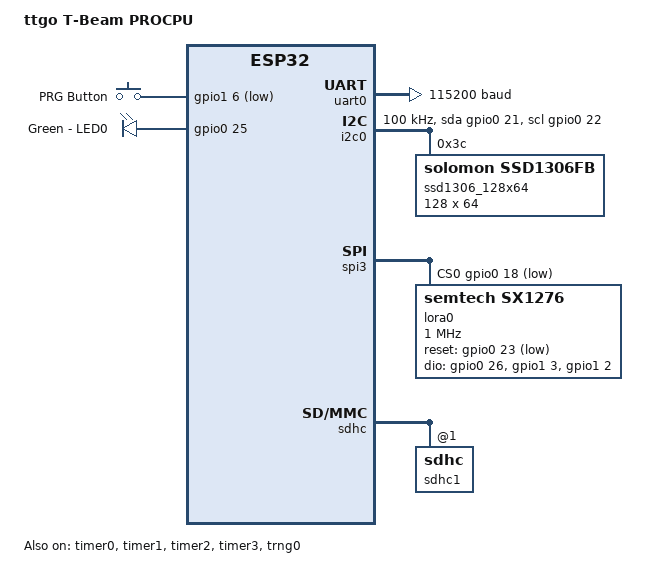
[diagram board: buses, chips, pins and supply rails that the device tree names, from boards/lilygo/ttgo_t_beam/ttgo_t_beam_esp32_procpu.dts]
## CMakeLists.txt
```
cmake_minimum_required(VERSION 3.20.0)
find_package(Zephyr REQUIRED HINTS $ENV{ZEPHYR_BASE})
project(IoT_zephyr)

target_sources(app PRIVATE
  src/main.c
)



# in CMakeLists.txt  
# zephyr_compile_options(-fno-threadsafe-statics)  

  
# target_include_directories(RadioLib PUBLIC include)  
# target_link_libraries(app PRIVATE RadioLib)  
```

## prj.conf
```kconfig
CONFIG_LOG=y
CONFIG_GPIO=y
CONFIG_SPI=y
CONFIG_GPIO_ESP32=y

CONFIG_LORA=y

# OLED Re-enabled
CONFIG_I2C=y
CONFIG_DISPLAY=y
CONFIG_CHARACTER_FRAMEBUFFER=y
CONFIG_SSD1306=y
CONFIG_SSD1306_DEFAULT_CONTRAST=128

CONFIG_CONSOLE=y
CONFIG_UART_CONSOLE=y
CONFIG_CONSOLE_SUBSYS=y
CONFIG_CONSOLE_GETCHAR=y

CONFIG_SYS_HEAP_RUNTIME_STATS=y  
# Increase heap size for Wi-Fi driver (64KB)
CONFIG_HEAP_MEM_POOL_SIZE=65536
CONFIG_THREAD_STACK_INFO=y  
CONFIG_THREAD_RUNTIME_STATS=y  
CONFIG_INIT_STACKS=y 

CONFIG_WIFI=y
CONFIG_WIFI_ESP32=y
CONFIG_NETWORKING=y
CONFIG_NET_L2_ETHERNET=y
CONFIG_NET_L2_WIFI_MGMT=y
CONFIG_NET_IPV4=y
CONFIG_NET_DHCPV4=y
CONFIG_NET_CONFIG_SETTINGS=n

CONFIG_NET_UDP=y
CONFIG_NET_SOCKETS=y
CONFIG_NET_SOCKETS_POSIX_NAMES=y
CONFIG_NET_MAX_CONTEXTS=4

# Restored Stable Memory Configuration
CONFIG_NET_BUF_RX_COUNT=8
CONFIG_NET_BUF_TX_COUNT=8
CONFIG_NET_PKT_RX_COUNT=4
CONFIG_NET_PKT_TX_COUNT=4
CONFIG_NET_TX_STACK_SIZE=2048
CONFIG_NET_RX_STACK_SIZE=2048
CONFIG_NET_MGMT_EVENT_STACK_SIZE=4096

# Crypto needed for local LoRaWAN decryption
CONFIG_MBEDTLS=y
CONFIG_MBEDTLS_CIPHER_AES_ENABLED=y
CONFIG_BASE64=y

# NVS for Backlog Storage
CONFIG_FLASH=y
CONFIG_FLASH_PAGE_LAYOUT=y
CONFIG_FLASH_MAP=y
CONFIG_NVS=y
CONFIG_NVS_LOG_LEVEL_INF=y
CONFIG_NET_DHCPV4=y
```

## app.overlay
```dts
/ {
	wifi: wifi {
		compatible = "espressif,esp32-wifi";
		status = "okay";
	};
};
```

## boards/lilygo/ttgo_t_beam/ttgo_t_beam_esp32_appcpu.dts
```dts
/*
 * Copyright (c) 2023 Espressif Systems (Shanghai) Co., Ltd.
 *
 * SPDX-License-Identifier: Apache-2.0
 */
/dts-v1/;

#include <espressif/esp32/esp32_appcpu.dtsi>
#include <espressif/partitions_0x1000_amp.dtsi>

/ {
	model = "ttgo T-Beam APPCPU";
	compatible = "espressif,esp32";

	chosen {
		zephyr,sram = &sram1;
		zephyr,ipc_shm = &shm0;
		zephyr,ipc = &ipm0;
		zephyr,flash = &flash0;
		zephyr,code-partition = &slot0_appcpu_partition;
	};
};

&ipm0 {
	status = "okay";
};

&trng0 {
	status = "okay";
};
```

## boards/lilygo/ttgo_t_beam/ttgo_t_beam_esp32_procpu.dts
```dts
/*
 * Copyright (c) 2024 Lothar Felten <lothar.felten@gmail.com>
 *
 * SPDX-License-Identifier: Apache-2.0
 */
/dts-v1/;

#include <espressif/esp32/esp32_pico_d4.dtsi>
#include "ttgo_t_beam-pinctrl.dtsi"
#include <zephyr/dt-bindings/input/input-event-codes.h>
#include <espressif/partitions_0x1000_amp.dtsi>

/ {
	model = "ttgo T-Beam PROCPU";
	compatible = "lilygo,ttgo-t-beam";

	aliases {
		led0 = &green_led;
		uart-0 = &uart0;
		i2c-0 = &i2c0;
		watchdog0 = &wdt0;
		sw0 = &button0;
		sdhc0 = &sdhc1;
		lora0 = &lora0;
	};

	buttons {
		compatible = "gpio-keys";
		button0: button_0 {
			gpios = <&gpio1 6 GPIO_ACTIVE_LOW>;
			label = "PRG Button";
		};
	};

	chosen {
		zephyr,sram = &sram0;
		zephyr,console = &uart0;
		zephyr,shell-uart = &uart0;
		zephyr,flash = &flash0;
		zephyr,code-partition = &slot0_partition;
		zephyr,display = &ssd1306_128x64;
		zephyr,sdhc = &sdhc1;
	};

	leds {
		compatible = "gpio-leds";

		green_led: led_0 {
			gpios =  <&gpio0 25 GPIO_ACTIVE_HIGH>;
			label = "Green - LED0";
		};
	};
};

&uart0 {
	status = "okay";
	current-speed = <115200>;
	pinctrl-0 = <&uart0_default>;
	pinctrl-names = "default";
};

&gpio0 {
	status = "okay";
};

&gpio1 {
	status = "okay";
};

/* OLED display */
&i2c0 {
	status = "okay";
	clock-frequency = <I2C_BITRATE_STANDARD>;
	sda-gpios = <&gpio0 21 GPIO_OPEN_DRAIN>;
	scl-gpios = <&gpio0 22 GPIO_OPEN_DRAIN>;
	pinctrl-0 = <&i2c0_default>;
	pinctrl-names = "default";
	ssd1306_128x64: ssd1306@3c {
		compatible = "solomon,ssd1306fb";
		reg = <0x3c>;
		width = <128>;
		height = <64>;
		segment-offset = <0>;
		page-offset = <0>;
		display-offset = <0>;
		multiplex-ratio = <63>;
		segment-remap;
		com-invdir;
		prechargep = <0x22>;
	};
};

&spi3 {
	#address-cells = <1>;
	#size-cells = <0>;
	status = "okay";
	pinctrl-0 = <&spim3_default>;
	pinctrl-names = "default";
	cs-gpios = <&gpio0 18 GPIO_ACTIVE_LOW>;
	lora0: lora@0 {
		compatible = "semtech,sx1276";
		reg = <0>;
		reset-gpios = <&gpio0 23 GPIO_ACTIVE_LOW>;
		dio-gpios =
			/* SX1276 D0 -> GPIO26 */
			<&gpio0 26 (GPIO_PULL_DOWN | GPIO_ACTIVE_HIGH)>,
			/* SX1276 D1 -> GPIO35 */
			<&gpio1 3 (GPIO_PULL_DOWN | GPIO_ACTIVE_HIGH)>,
			/* SX1276 D1 -> GPIO34 */
			<&gpio1 2 (GPIO_PULL_DOWN | GPIO_ACTIVE_HIGH)>;
		spi-max-frequency = <1000000>;
		power-amplifier-output = "pa-boost";
	};
};

&timer0 {
	status = "okay";
};

&timer1 {
	status = "okay";
};

&timer2 {
	status = "okay";
};

&timer3 {
	status = "okay";
};

&trng0 {
	status = "okay";
};

&sdhc {
	sdhc1: sdhc@1 {
		status = "okay";

		pinctrl-0 = <&sdhc0_default>;
		pinctrl-names = "default";
		power-delay-ms = <100>;
		max-bus-freq = <52000000>;
		bus-width = <4>;

		clk-pin = <14>;
		cmd-pin = <15>;
		d0-pin = <2>;
		d1-pin = <4>;
		d2-pin = <12>;
		d3-pin = <13>;

		mmc {
			compatible = "zephyr,sdmmc-disk";
			status = "okay";
		};
	};
};
```

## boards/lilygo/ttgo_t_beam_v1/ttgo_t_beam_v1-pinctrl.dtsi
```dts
/*
 * Copyright (c) 2024 Lothar Felten <lothar.felten@gmail.com>
 *
 * SPDX-License-Identifier: Apache-2.0
 */

#include <zephyr/dt-bindings/pinctrl/esp-pinctrl-common.h>
#include <dt-bindings/pinctrl/esp32-pinctrl.h>
#include <zephyr/dt-bindings/pinctrl/esp32-gpio-sigmap.h>

&pinctrl {

	uart0_default: uart0_default {
		group1 {
			pinmux = <UART0_TX_GPIO1>;
			output-high;
		};
		group2 {
			pinmux = <UART0_RX_GPIO3>;
			bias-pull-up;
		};
	};

	spim3_default: spim3_default {
		group1 {
			pinmux = <SPIM3_MISO_GPIO19>,
				 <SPIM3_SCLK_GPIO5>;
		};
		group2 {
			pinmux = <SPIM3_MOSI_GPIO27>;
			output-low;
		};
	};

	i2c0_default: i2c0_default {
		group1 {
			pinmux = <I2C0_SDA_GPIO21>,
				 <I2C0_SCL_GPIO22>;
			bias-pull-up;
			drive-open-drain;
			output-high;
		};
	};

	sdhc0_default: sdhc0_default {
		group1 {
			pinmux = <SDHC0_CD_GPIO34>;
			bias-pull-up;
			output-high;
		};
	};
};
```

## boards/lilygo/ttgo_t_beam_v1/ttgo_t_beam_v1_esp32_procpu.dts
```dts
/*
 * Copyright (c) 2024 Lothar Felten <lothar.felten@gmail.com>
 *
 * SPDX-License-Identifier: Apache-2.0
 */
/dts-v1/;

#include <espressif/esp32/esp32_pico_d4.dtsi>
#include "ttgo_t_beam_v1-pinctrl.dtsi"
#include <zephyr/dt-bindings/input/input-event-codes.h>
#include <espressif/partitions_0x1000_amp.dtsi>

/ {
	model = "ttgo T-Beam PROCPU";
	compatible = "lilygo,ttgo-t-beam";

	aliases {
		led0 = &green_led;
		uart-0 = &uart0;
		i2c-0 = &i2c0;
		watchdog0 = &wdt0;
		sw0 = &button0;
		sdhc0 = &sdhc1;
		lora0 = &lora0;
	};

	buttons {
		compatible = "gpio-keys";
		button0: button_0 {
			gpios = <&gpio1 6 GPIO_ACTIVE_LOW>;
			label = "PRG Button";
		};
	};

	chosen {
		zephyr,sram = &sram0;
		zephyr,console = &uart0;
		zephyr,shell-uart = &uart0;
		zephyr,flash = &flash0;
		zephyr,code-partition = &slot0_partition;
		zephyr,display = &ssd1306_128x64;
		zephyr,sdhc = &sdhc1;
	};

	leds {
		compatible = "gpio-leds";

		green_led: led_0 {
			gpios =  <&gpio0 25 GPIO_ACTIVE_HIGH>;
			label = "Green - LED0";
		};
	};
};

&uart0 {
	status = "okay";
	current-speed = <115200>;
	pinctrl-0 = <&uart0_default>;
	pinctrl-names = "default";
};

&gpio0 {
	status = "okay";
};

&gpio1 {
	status = "okay";
};

/* OLED display */
&i2c0 {
	status = "okay";
	clock-frequency = <I2C_BITRATE_STANDARD>;
	sda-gpios = <&gpio0 21 GPIO_OPEN_DRAIN>;
	scl-gpios = <&gpio0 22 GPIO_OPEN_DRAIN>;
	pinctrl-0 = <&i2c0_default>;
	pinctrl-names = "default";
	ssd1306_128x64: ssd1306@3c {
		compatible = "solomon,ssd1306fb";
		reg = <0x3c>;
		width = <128>;
		height = <64>;
		segment-offset = <0>;
		page-offset = <0>;
		display-offset = <0>;
		multiplex-ratio = <63>;
		segment-remap;
		com-invdir;
		prechargep = <0x22>;
	};
};

&spi3 {
	#address-cells = <1>;
	#size-cells = <0>;
	status = "okay";
	pinctrl-0 = <&spim3_default>;
	pinctrl-names = "default";
	cs-gpios = <&gpio0 18 GPIO_ACTIVE_LOW>;
	lora0: lora@0 {
		compatible = "semtech,sx1276";
		reg = <0>;
		reset-gpios = <&gpio0 23 GPIO_ACTIVE_LOW>;
		dio-gpios =
			/* SX1276 D0 -> GPIO26 */
			<&gpio0 26 (GPIO_PULL_DOWN | GPIO_ACTIVE_HIGH)>,
			/* SX1276 D1 -> GPIO35 */
			<&gpio1 3 (GPIO_PULL_DOWN | GPIO_ACTIVE_HIGH)>,
			/* SX1276 D1 -> GPIO34 */
			<&gpio1 2 (GPIO_PULL_DOWN | GPIO_ACTIVE_HIGH)>;
		spi-max-frequency = <1000000>;
		power-amplifier-output = "pa-boost";
	};
};

&timer0 {
	status = "okay";
};

&timer1 {
	status = "okay";
};

&timer2 {
	status = "okay";
};

&timer3 {
	status = "okay";
};

&trng0 {
	status = "okay";
};

&sdhc {
	sdhc1: sdhc@1 {
		status = "okay";

		pinctrl-0 = <&sdhc0_default>;
		pinctrl-names = "default";
		power-delay-ms = <100>;
		max-bus-freq = <52000000>;
		bus-width = <4>;

		clk-pin = <14>;
		cmd-pin = <15>;
		d0-pin = <2>;
		d1-pin = <4>;
		d2-pin = <12>;
		d3-pin = <13>;

		mmc {
			compatible = "zephyr,sdmmc-disk";
			status = "okay";
		};
	};
};
```

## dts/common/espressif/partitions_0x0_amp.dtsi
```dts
/*
 * Copyright (c) 2024-2025 Espressif Systems (Shanghai) Co., Ltd.
 *
 * SPDX-License-Identifier: Apache-2.0
 */

#include <espressif/partitions_0x0_amp_4M.dtsi>
```

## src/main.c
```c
#include <zephyr/kernel.h>  
#include <zephyr/logging/log.h>  
#include <zephyr/drivers/lora.h>  
#include <zephyr/drivers/gpio.h>  
#include <zephyr/device.h>  
#include <zephyr/display/cfb.h>
#include <zephyr/sys/printk.h>  
#include <zephyr/sys/util.h>  
#include <zephyr/sys/sys_heap.h>  
#include <zephyr/sys/byteorder.h>
#include <zephyr/console/console.h>
#include <zephyr/net/net_if.h>
#include <zephyr/net/net_core.h>
#include <zephyr/net/net_mgmt.h>
#include <zephyr/net/wifi_mgmt.h>
#include <zephyr/net/socket.h>
#include <zephyr/sys/base64.h>
#include <zephyr/fs/nvs.h>
#include <zephyr/storage/flash_map.h>
#include <zephyr/drivers/flash.h>
#include <mbedtls/aes.h>
#include <fcntl.h>

LOG_MODULE_REGISTER(IoTProj, LOG_LEVEL_INF);

/* ---------- Config Networking ---------- */
#define WIFI_SSID "Lora-Fi"
#define WIFI_PSK  "lora-pico"
#define TTN_SERVER "63.34.215.128" 
#define TTN_PORT   "1700"

/* ---------- Keys for Local Decryption ---------- */
static const uint8_t app_skey[16] = { 0x2B, 0x7E, 0x15, 0x16, 0x28, 0xAE, 0xD2, 0xA6, 0xAB, 0xf7, 0x15, 0x88, 0x09, 0xCF, 0x4F, 0x3C };

/* ---------- Config Threaduri ---------- */  
#define STACK_SIZE   2048  
#define PRIORITY_RX  5  
#define PRIORITY_FWD 5
#define PRIORITY_MON 2  
#define PRIORITY_DISP 6
  
#define DISPLAY_NODE  DT_CHOSEN(zephyr_display)  
#define LORA_NODE     DT_ALIAS(lora0)  

/* ---------- Structuri de Date ---------- */  
struct __attribute__((packed)) lora_packet_t {
	uint32_t timestamp; 
	uint16_t len;
	int16_t rssi;
	int8_t snr;
	uint8_t data[256];
};

static struct lora_modem_config cfg_rx = {  
        .frequency      = 864920000,  
        .bandwidth      = BW_125_KHZ,  
        .datarate       = SF_10,  
        .preamble_len   = 12,  
        .coding_rate    = CR_4_8,  
        .iq_inverted    = false,  
        .public_network = false,  
        .tx             = false,  
};

/* ---------- Resurse Kernel ---------- */
K_MSGQ_DEFINE(fwd_q, sizeof(struct lora_packet_t), 8, 4);
K_SEM_DEFINE(wifi_connected_sem, 0, 1);
K_MUTEX_DEFINE(stats_mutex);  
K_MUTEX_DEFINE(lora_lock);
  
static const struct device *lora_dev;  
static const struct device *display_dev;
static uint8_t g_gw_eui[8];

struct stats_t {  
	uint32_t rx_cnt;  
	uint32_t fwd_cnt;
	uint32_t pull_cnt;
	uint32_t ack_cnt;
	uint32_t backlog_cnt;
};  
static struct stats_t g_stats;  

/* ---------- NVS Configuration ---------- */
static struct nvs_fs fs;
#define STORAGE_NODE DT_NODE_BY_FIXED_PARTITION_LABEL(storage)
#define NVS_PACKET_ID_START 100
#define NVS_MAX_PACKETS     100
static uint16_t nvs_write_idx = 0;
static uint16_t nvs_read_idx = 0;

/* ---------- Forward Decls ---------- */
static void lora_rx_cb(const struct device *dev, uint8_t *data, uint16_t len, int16_t rssi, int8_t snr);
void lora_rx_thread(void *p1, void *p2, void *p3);
void lora_fwd_thread(void *p1, void *p2, void *p3);
void monitor_thread(void *p1, void *p2, void *p3);
void display_thread(void *p1, void *p2, void *p3);

K_THREAD_STACK_DEFINE(stack_rx, STACK_SIZE);
K_THREAD_STACK_DEFINE(stack_fwd, 4096);
K_THREAD_STACK_DEFINE(stack_mon, STACK_SIZE);
K_THREAD_STACK_DEFINE(stack_disp, 1024);

struct k_thread thread_rx;
struct k_thread thread_fwd;
struct k_thread thread_mon;
struct k_thread thread_disp;

/* ---------- Tiny AES Helper (LoRaWAN CTR Decryption) ---------- */
void debug_print_payload(uint8_t *data, uint16_t len) {
    if (len < 13) return;
    int fopts_len = data[5] & 0x0F;
    int payload_offset = 1 + 4 + 1 + 2 + fopts_len;
    if (payload_offset < len - 4) payload_offset++; 
    int payload_len = len - 4 - payload_offset;
    if (payload_len <= 0) return;
    
    uint8_t a_block[16] = {0x01, 0, 0, 0, 0, 0};
    memcpy(&a_block[6], &data[1], 4);
    memcpy(&a_block[10], &data[6], 2);
    
    mbedtls_aes_context aes;
    mbedtls_aes_init(&aes);
    mbedtls_aes_setkey_enc(&aes, app_skey, 128);
    uint8_t s_block[16];
    uint8_t plain[128] = {0};
    if (payload_len > 127) payload_len = 127;
    for (int i = 0; i < payload_len; i++) {
        if (i % 16 == 0) {
            a_block[15] = (i / 16) + 1;
            mbedtls_aes_crypt_ecb(&aes, MBEDTLS_AES_ENCRYPT, a_block, s_block);
        }
        plain[i] = data[payload_offset + i] ^ s_block[i % 16];
    }
    mbedtls_aes_free(&aes);
    for (int i = 0; i < payload_len; i++) if (plain[i] < 32 || plain[i] > 126) plain[i] = '.';
    plain[payload_len] = '\0';
    printk("  Decrypted Text: [%s]\n", plain);
}

/* ---------- Wi-Fi Management ---------- */
static struct net_mgmt_event_callback wifi_cb;
static struct net_mgmt_event_callback ipv4_cb;

static void ipv4_handler(struct net_mgmt_event_callback *cb, uint32_t mgmt_event, struct net_if *iface) {
	if (mgmt_event == NET_EVENT_IPV4_ADDR_ADD) {
		LOG_INF("IPv4 Address Assigned via DHCP!");
		k_sem_give(&wifi_connected_sem);
	}
}

static void wifi_handler(struct net_mgmt_event_callback *cb, uint32_t mgmt_event, struct net_if *iface) {
	if (mgmt_event == NET_EVENT_WIFI_CONNECT_RESULT) {
		LOG_INF("Wi-Fi Connected! Starting DHCP...");
		net_dhcpv4_start(iface);
	}
}

void connect_wifi(void) {
	struct net_if *iface = net_if_get_default();
	static struct wifi_connect_req_params wifi_params;
	wifi_params.ssid = (uint8_t *)WIFI_SSID;
	wifi_params.ssid_length = strlen(WIFI_SSID);
	wifi_params.psk = (uint8_t *)WIFI_PSK;
	wifi_params.psk_length = strlen(WIFI_PSK);
	wifi_params.channel = WIFI_CHANNEL_ANY;
	wifi_params.security = WIFI_SECURITY_TYPE_PSK;
	net_mgmt_init_event_callback(&wifi_cb, wifi_handler, NET_EVENT_WIFI_CONNECT_RESULT);
	net_mgmt_add_event_callback(&wifi_cb);
	net_mgmt_init_event_callback(&ipv4_cb, ipv4_handler, NET_EVENT_IPV4_ADDR_ADD);
	net_mgmt_add_event_callback(&ipv4_cb);
	net_mgmt(NET_REQUEST_WIFI_CONNECT, iface, &wifi_params, sizeof(wifi_params));
}

/* ---------- TASK 1: LoRa Receiver ---------- */  
void lora_rx_thread(void *p1, void *p2, void *p3)  
{  
    if (!device_is_ready(lora_dev)) return;  
    for (;;) {    
        k_mutex_lock(&lora_lock, K_FOREVER); 
        lora_recv_async(lora_dev, NULL);  
        lora_config(lora_dev, &cfg_rx);
        if (lora_recv_async(lora_dev, lora_rx_cb) == 0) {  
            k_mutex_unlock(&lora_lock);  
            k_sleep(K_FOREVER); 
        } else {   
            k_mutex_unlock(&lora_lock);  
            k_sleep(K_MSEC(500));  
        }  
    } 
} 

static void lora_rx_cb(const struct device *dev, uint8_t *data, uint16_t len, int16_t rssi, int8_t snr)  
{  
	LOG_INF("LoRa RX: %u bytes, RSSI: %d dBm", len, rssi);
    debug_print_payload(data, len);
	struct lora_packet_t pkt;
	memset(&pkt, 0, sizeof(pkt));
	pkt.len = len; pkt.rssi = rssi; pkt.snr = snr;
	pkt.timestamp = k_uptime_get_32() * 1000;
	memcpy(pkt.data, data, len);
	k_msgq_put(&fwd_q, &pkt, K_NO_WAIT);
	k_mutex_lock(&stats_mutex, K_NO_WAIT); g_stats.rx_cnt++; k_mutex_unlock(&stats_mutex);  
	k_wakeup(&thread_rx);
}  

/* ---------- TASK 2: TDM Forwarder ---------- */
void lora_fwd_thread(void *p1, void *p2, void *p3) {
	k_sem_take(&wifi_connected_sem, K_FOREVER);
	
	int sock = zsock_socket(AF_INET, SOCK_DGRAM, IPPROTO_UDP);
	while (sock < 0) {
		LOG_ERR("Socket not ready, retrying in 3s...");
		k_sleep(K_SECONDS(3));
		sock = zsock_socket(AF_INET, SOCK_DGRAM, IPPROTO_UDP);
	}

	struct sockaddr_in local_addr;
	local_addr.sin_family = AF_INET; 
	local_addr.sin_port = htons(1700); 
	local_addr.sin_addr.s_addr = htonl(INADDR_ANY);
	zsock_bind(sock, (struct sockaddr *)&local_addr, sizeof(local_addr));

	struct sockaddr_in dest_addr;
	dest_addr.sin_family = AF_INET;
	dest_addr.sin_port = htons(1700);
	zsock_inet_pton(AF_INET, TTN_SERVER, &dest_addr.sin_addr);

	struct lora_packet_t pkt;
	uint8_t buffer[1024];
	uint32_t last_pull = 0;
	bool ttn_online = false;

	for (;;) {
		uint32_t now = k_uptime_get_32();
		
		if (last_pull == 0 || now - last_pull > 10000) {
			k_mutex_lock(&lora_lock, K_FOREVER);
			lora_recv_async(lora_dev, NULL);
			buffer[0] = 0x02; sys_put_be16(k_cycle_get_32() & 0xFFFF, &buffer[1]);
			buffer[3] = 0x02; memcpy(&buffer[4], g_gw_eui, 8);
			zsock_sendto(sock, buffer, 12, 0, (struct sockaddr *)&dest_addr, sizeof(dest_addr));
			uint8_t ack[12];
			struct zsock_pollfd fds = { .fd = sock, .events = ZSOCK_POLLIN };
			if (zsock_poll(&fds, 1, 1000) > 0) {
				if (zsock_recv(sock, ack, 12, 0) > 0) {
					ttn_online = true;
					k_mutex_lock(&stats_mutex, K_NO_WAIT); g_stats.ack_cnt++; k_mutex_unlock(&stats_mutex);
				}
			} else { ttn_online = false; }
			k_mutex_lock(&stats_mutex, K_NO_WAIT); g_stats.pull_cnt++; k_mutex_unlock(&stats_mutex);
			k_sleep(K_MSEC(50)); k_mutex_unlock(&lora_lock); k_wakeup(&thread_rx); 
			last_pull = now;
		}

		if (ttn_online && g_stats.backlog_cnt > 0) {
			struct lora_packet_t bl_pkt;
			if (nvs_read(&fs, NVS_PACKET_ID_START + nvs_read_idx, &bl_pkt, sizeof(bl_pkt)) > 0) {
				k_mutex_lock(&lora_lock, K_FOREVER);
				lora_recv_async(lora_dev, NULL);
				char b64[400]; size_t olen;
				base64_encode((uint8_t *)b64, sizeof(b64), &olen, bl_pkt.data, bl_pkt.len); b64[olen] = '\0';
				char json[800];
				snprintk(json, sizeof(json), "{\"rxpk\":[{\"tmst\":%u,\"freq\":868.1,\"chan\":0,\"rfch\":0,\"stat\":1,\"modu\":\"LORA\",\"datr\":\"SF10BW125\",\"codr\":\"4/5\",\"rssi\":%d,\"lsnr\":%d.0,\"size\":%u,\"data\":\"%s\"}]}",
					bl_pkt.timestamp, bl_pkt.rssi, (int)bl_pkt.snr, bl_pkt.len, b64);
				buffer[0] = 0x02; sys_put_be16(k_cycle_get_32() & 0xFFFF, &buffer[1]);
				buffer[3] = 0x00; memcpy(&buffer[4], g_gw_eui, 8);
				int json_len = strlen(json); memcpy(&buffer[12], json, json_len);
				zsock_sendto(sock, buffer, 12 + json_len, 0, (struct sockaddr *)&dest_addr, sizeof(dest_addr));
				LOG_INF("JSON Backlog: %s", json);
				nvs_delete(&fs, NVS_PACKET_ID_START + nvs_read_idx);
				nvs_read_idx = (nvs_read_idx + 1) % NVS_MAX_PACKETS;
				k_mutex_lock(&stats_mutex, K_NO_WAIT); g_stats.backlog_cnt--; k_mutex_unlock(&stats_mutex);
				k_sleep(K_MSEC(150)); k_mutex_unlock(&lora_lock); k_wakeup(&thread_rx); 
			}
		}

		if (k_msgq_get(&fwd_q, &pkt, K_MSEC(500)) == 0) {
			if (ttn_online) {
				k_mutex_lock(&lora_lock, K_FOREVER);
				lora_recv_async(lora_dev, NULL);
				char b64[400]; size_t olen;
				base64_encode((uint8_t *)b64, sizeof(b64), &olen, pkt.data, pkt.len); b64[olen] = '\0';
				char json[800];
				snprintk(json, sizeof(json), "{\"rxpk\":[{\"tmst\":%u,\"freq\":868.1,\"chan\":0,\"rfch\":0,\"stat\":1,\"modu\":\"LORA\",\"datr\":\"SF10BW125\",\"codr\":\"4/5\",\"rssi\":%d,\"lsnr\":%d.0,\"size\":%u,\"data\":\"%s\"}]}",
					pkt.timestamp, pkt.rssi, (int)pkt.snr, pkt.len, b64);
				buffer[0] = 0x02; sys_put_be16(k_cycle_get_32() & 0xFFFF, &buffer[1]);
				buffer[3] = 0x00; memcpy(&buffer[4], g_gw_eui, 8);
				int json_len = strlen(json); memcpy(&buffer[12], json, json_len);
				zsock_sendto(sock, buffer, 12 + json_len, 0, (struct sockaddr *)&dest_addr, sizeof(dest_addr));
				LOG_INF("JSON RT: %s", json);
				k_mutex_lock(&stats_mutex, K_NO_WAIT); g_stats.fwd_cnt++; k_mutex_unlock(&stats_mutex);
				k_sleep(K_MSEC(150)); k_mutex_unlock(&lora_lock); k_wakeup(&thread_rx); 
			} else {
				nvs_write(&fs, NVS_PACKET_ID_START + nvs_write_idx, &pkt, sizeof(pkt));
				nvs_write_idx = (nvs_write_idx + 1) % NVS_MAX_PACKETS;
				k_mutex_lock(&stats_mutex, K_NO_WAIT); g_stats.backlog_cnt++; k_mutex_unlock(&stats_mutex);
			}
		}
	}
}

/* ---------- TASK 3: Display Thread ---------- */
void display_thread(void *p1, void *p2, void *p3)  
{  
	display_dev = DEVICE_DT_GET(DISPLAY_NODE);  
	if (device_is_ready(display_dev)) {
        cfb_framebuffer_init(display_dev);
        cfb_framebuffer_set_font(display_dev, 0);
    }
	char buf[32];  
	for (;;) {  
		k_sleep(K_SECONDS(5));  
		if (device_is_ready(display_dev)) {
            k_mutex_lock(&stats_mutex, K_FOREVER);  
            cfb_framebuffer_clear(display_dev, false);  
            snprintk(buf, sizeof(buf), "RX:%u FWD:%u", g_stats.rx_cnt, g_stats.fwd_cnt);  
            cfb_print(display_dev, buf, 0, 0);  
            snprintk(buf, sizeof(buf), "ACK:%u BKLOG:%u", g_stats.ack_cnt, g_stats.backlog_cnt);  
            cfb_print(display_dev, buf, 0, 16);  
            cfb_framebuffer_finalize(display_dev);  
            k_mutex_unlock(&stats_mutex);  
        }
	}  
}  

void monitor_thread(void *p1, void *p2, void *p3)  
{  
    for (;;) {  
        k_sleep(K_SECONDS(20));    
		LOG_INF("Stats: RX:%u, FWD:%u, ACK:%u, BACKLOG:%u", g_stats.rx_cnt, g_stats.fwd_cnt, g_stats.ack_cnt, g_stats.backlog_cnt);
        k_wakeup(&thread_rx);
    }  
}  

/* ---------- main() ---------- */  
int main(void)  
{  
    lora_dev = DEVICE_DT_GET(LORA_NODE);  
    if (!device_is_ready(lora_dev)) return 0;  

	struct flash_pages_info info;
	fs.flash_device = DEVICE_DT_GET(DT_MTD_FROM_FIXED_PARTITION(STORAGE_NODE));
	fs.offset = DT_REG_ADDR(STORAGE_NODE);
	flash_get_page_info_by_offs(fs.flash_device, fs.offset, &info);
	fs.sector_size = info.size;
	fs.sector_count = 3; 
	nvs_mount(&fs);

	struct net_if *iface = net_if_get_default();
	if (iface) {
		uint8_t mac[6]; memcpy(mac, net_if_get_link_addr(iface)->addr, 6);
		g_gw_eui[0]=mac[0]; g_gw_eui[1]=mac[1]; g_gw_eui[2]=mac[2]; g_gw_eui[3]=0xFF; g_gw_eui[4]=0xFE; g_gw_eui[5]=mac[3]; g_gw_eui[6]=mac[4]; g_gw_eui[7]=mac[5];
	}
	LOG_INF("LoRa Store-and-Forward Gateway Ready");  
	k_thread_create(&thread_rx, stack_rx, STACK_SIZE, lora_rx_thread, NULL, NULL, NULL, PRIORITY_RX, 0, K_NO_WAIT);
	k_thread_create(&thread_fwd, stack_fwd, 4096, lora_fwd_thread, NULL, NULL, NULL, PRIORITY_FWD, 0, K_NO_WAIT);
	k_thread_create(&thread_mon, stack_mon, STACK_SIZE, monitor_thread, NULL, NULL, NULL, PRIORITY_MON, 0, K_NO_WAIT);
	k_thread_create(&thread_disp, stack_disp, 1024, display_thread, NULL, NULL, NULL, PRIORITY_DISP, 0, K_NO_WAIT);
	connect_wifi();
	return 0;  
}
```

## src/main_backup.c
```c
#include <zephyr/kernel.h>  
#include <zephyr/logging/log.h>  
#include <zephyr/drivers/lora.h>  
#include <zephyr/drivers/gpio.h>  
#include <zephyr/device.h>  
#include <zephyr/display/cfb.h>  
#include <zephyr/sys/printk.h>  
#include <zephyr/sys/util.h>  
#include <zephyr/sys/sys_heap.h>  
#include <zephyr/sys/byteorder.h>
#include <zephyr/console/console.h>
#include <zephyr/net/net_if.h>
#include <zephyr/net/net_core.h>
#include <zephyr/net/net_mgmt.h>
#include <zephyr/net/wifi_mgmt.h>
#include <zephyr/net/socket.h>
#include <zephyr/net/dhcpv4.h>
#include <zephyr/net/dns_resolve.h>
#include <zephyr/posix/fcntl.h>

LOG_MODULE_REGISTER(IoTProj, LOG_LEVEL_INF);

/* ---------- Wi-Fi & TTN Config ---------- */
#define WIFI_SSID "DIGI-gU2b"
#define WIFI_PSK  "bC9yCPkUbz"
#define TTN_SERVER "eu1.cloud.thethings.network"
#define TTN_PORT   "1700"

/* ---------- Config ---------- */  
#define STACK_SIZE   2048  
#define PRIORITY_TX  4  
#define PRIORITY_RX  5  
#define PRIORITY_FWD 5
#define PRIORITY_DISP 6  
#define PRIORITY_EVT 3  
#define PRIORITY_MON 2  
#define PRIORITY_SER 2
  
#define BTN_NODE      DT_ALIAS(sw0)  
#define DISPLAY_NODE  DT_CHOSEN(zephyr_display)  
#define LORA_NODE     DT_ALIAS(lora0)  

/* ---------- Structuri ---------- */  
struct event_t {  
	uint32_t ts_ms;  
	uint8_t  id;   /* id buton, 0,1… */  
};  

struct lora_packet_t {
	uint8_t data[256];
	uint16_t len;
	int16_t rssi;
	int8_t snr;
	uint32_t freq;
	uint8_t sf;
	uint8_t bw;
};

static struct lora_modem_config cfg_tx = {  
        .frequency      = 864920000,  
        .bandwidth      = BW_125_KHZ,  
        .datarate       = SF_10,  
        .preamble_len   = 12,  
        .coding_rate    = CR_4_8,  
        .iq_inverted    = false,  
        .public_network = false,  
        .tx_power       = 4,  
        .tx             = true,  
};  
  
static struct lora_modem_config cfg_rx = {  
        .frequency      = 864920000,  
        .bandwidth      = BW_125_KHZ,  
        .datarate       = SF_10,  
        .preamble_len   = 12,  
        .coding_rate    = CR_4_8,  
        .iq_inverted    = false,  
        .public_network = false,  
        .tx             = false,  
};

K_MSGQ_DEFINE(events_q, sizeof(struct event_t), 16, 4);  
K_MSGQ_DEFINE(fwd_q, sizeof(struct lora_packet_t), 8, 4);
K_SEM_DEFINE(tx_sem, 0, 1);  
K_SEM_DEFINE(wifi_connected_sem, 0, 1);
K_MUTEX_DEFINE(disp_mutex);  
K_MUTEX_DEFINE(lora_lock);
  
static void lora_rx_cb(const struct device *, uint8_t *, uint16_t, int16_t, int8_t);  
  
static const struct device *lora_dev;  
static const struct device *display_dev;  
static uint8_t g_gw_eui[8];

struct stats_t {  
	uint32_t btn_cnt;  
	uint32_t tx_cnt;  
	uint32_t rx_cnt;  
	uint32_t fwd_cnt;
	uint32_t pull_ack_cnt;
	bool wifi_ok;
};  
static struct stats_t g_stats;  
  
static const struct gpio_dt_spec btn = GPIO_DT_SPEC_GET(BTN_NODE, gpios);  
  
static void button_isr(const struct device *dev, struct gpio_callback *cb, uint32_t pins)  
{  
	static struct event_t ev;  
	ev.id = 0;  
	ev.ts_ms = k_uptime_get_32();  
	k_msgq_put(&events_q, &ev, K_NO_WAIT);  
}  
static struct gpio_callback btn_cb;  

/* ---------- Base64 Helper ---------- */
static const char base64_table[] = "ABCDEFGHIJKLMNOPQRSTUVWXYZabcdefghijklmnopqrstuvwxyz0123456789+/";
static void base64_encode(const uint8_t *src, size_t len, char *dst) {
	while (len > 0) {
		*dst++ = base64_table[src[0] >> 2];
		if (len > 1) {
			*dst++ = base64_table[((src[0] & 0x03) << 4) | (src[1] >> 4)];
			if (len > 2) {
				*dst++ = base64_table[((src[1] & 0x0f) << 2) | (src[2] >> 6)];
				*dst++ = base64_table[src[2] & 0x3f];
				len -= 3; src += 3;
			} else {
				*dst++ = base64_table[(src[1] & 0x0f) << 2];
				*dst++ = '=';
				len = 0;
			}
		} else {
			*dst++ = base64_table[(src[0] & 0x03) << 4];
			*dst++ = '=';
			*dst++ = '=';
			len = 0;
		}
	}
	*dst = '\0';
}

/* ---------- Wi-Fi Manager ---------- */
static struct net_mgmt_event_callback wifi_cb;
static void wifi_handler(struct net_mgmt_event_callback *cb, uint32_t mgmt_event, struct net_if *iface) {
	if (mgmt_event == NET_EVENT_WIFI_CONNECT_RESULT) {
		const struct wifi_status *status = (const struct wifi_status *)cb->info;
		if (status && status->status) {
			LOG_ERR("Connection failed: %d", status->status);
		} else {
			LOG_INF("Wi-Fi Connected. Starting DHCP...");
			net_dhcpv4_start(iface);
		}
	} else if (mgmt_event == NET_EVENT_IPV4_ADDR_ADD) {
		LOG_INF("IP Address Assigned");
		g_stats.wifi_ok = true;
		k_sem_give(&wifi_connected_sem);
	}
}

void connect_wifi(void) {
	struct net_if *iface = net_if_get_default();
	struct wifi_connect_req_params params = {
		.ssid = (uint8_t *)WIFI_SSID,
		.ssid_length = strlen(WIFI_SSID),
		.psk = (uint8_t *)WIFI_PSK,
		.psk_length = strlen(WIFI_PSK),
		.channel = WIFI_CHANNEL_ANY,
		.security = WIFI_SECURITY_TYPE_PSK,
	};
	net_mgmt_init_event_callback(&wifi_cb, wifi_handler, NET_EVENT_WIFI_CONNECT_RESULT | NET_EVENT_IPV4_ADDR_ADD);
	net_mgmt_add_event_callback(&wifi_cb);
	
	LOG_INF("Waiting 5s for Wi-Fi driver to settle...");
	k_sleep(K_SECONDS(5));
	
	LOG_INF("Connecting to Wi-Fi: %s", WIFI_SSID);
	if (net_mgmt(NET_REQUEST_WIFI_CONNECT, iface, &params, sizeof(params))) {
		LOG_ERR("Wi-Fi Connection Request Failed");
	}
}

/* Forward thread handles */
void event_thread(void);
void lora_rx_thread(void);
void lora_tx_thread(void);
void lora_fwd_thread(void);
void display_thread(void);
void monitor_thread(void);
void serial_thread(void);

K_THREAD_DEFINE(tid_evt,  1024, event_thread,  NULL, NULL, NULL, PRIORITY_EVT, 0, 0);  
K_THREAD_DEFINE(tid_tx,   1024, lora_tx_thread,   NULL, NULL, NULL, PRIORITY_TX,  0, 0);  
K_THREAD_DEFINE(tid_rx,   1024, lora_rx_thread, NULL, NULL, NULL, PRIORITY_RX, 0, 0);   
K_THREAD_DEFINE(tid_fwd,  4096, lora_fwd_thread, NULL, NULL, NULL, PRIORITY_FWD, 0, 0);
K_THREAD_DEFINE(tid_disp, 1024, display_thread,NULL, NULL, NULL, PRIORITY_DISP,0, 0);  
K_THREAD_DEFINE(tid_mon,  1024, monitor_thread,NULL, NULL, NULL, PRIORITY_MON, 0, 0);  
// K_THREAD_DEFINE(tid_ser,  1024, serial_thread, NULL, NULL, NULL, PRIORITY_SER, 0, 0);

/* ---------- TASK 1 – EVENT_DISPATCH ---------- */  
void event_thread(void) {  
	struct event_t ev;  
	for (;;) {  
		k_msgq_get(&events_q, &ev, K_FOREVER);  
		k_mutex_lock(&disp_mutex, K_FOREVER);  
		g_stats.btn_cnt++;  
		k_mutex_unlock(&disp_mutex);  
		k_sem_give(&tx_sem);   
	}  
}  
  
void lora_rx_thread(void) {  
	if (!device_is_ready(lora_dev)) return;  
	for (;;) {    
		k_mutex_lock(&lora_lock, K_FOREVER); 
		lora_recv_async(lora_dev, NULL);  
		while (lora_config(lora_dev, &cfg_rx) < 0) k_sleep(K_MSEC(100));  
		if (lora_recv_async(lora_dev, lora_rx_cb) == 0) {  
			k_mutex_unlock(&lora_lock);  
			k_sleep(K_FOREVER);  
		} else {   
			k_mutex_unlock(&lora_lock);  
			k_sleep(K_MSEC(200));  
		}  
	} 
} 

/* ---------- TASK 2 – LORA_TX ---------- */  
void lora_tx_thread(void) {  
	uint8_t frame[8];  
	for (;;) {  
		k_sem_take(&tx_sem, K_FOREVER);  
		k_mutex_lock(&lora_lock, K_FOREVER);  
		lora_recv_async(lora_dev, NULL);  
		while (lora_config(lora_dev, &cfg_tx) < 0) k_sleep(K_MSEC(100));  
		sys_put_le32(g_stats.tx_cnt, &frame[0]);  
		if (lora_send(lora_dev, frame, sizeof(frame)) == 0) {  
			g_stats.tx_cnt++;  
		}
		k_mutex_unlock(&lora_lock);
		k_wakeup(tid_rx);
	}  
}  
  
static void lora_rx_cb(const struct device *dev, uint8_t *data, uint16_t len, int16_t rssi, int8_t snr) {  
	struct lora_packet_t pkt;
	pkt.len = len;
	pkt.rssi = rssi;
	pkt.snr = snr;
	pkt.freq = cfg_rx.frequency;
	pkt.sf = 10; // match cfg_rx
	pkt.bw = 125;
	memcpy(pkt.data, data, len);
	k_msgq_put(&fwd_q, &pkt, K_NO_WAIT);

	k_mutex_lock(&disp_mutex, K_NO_WAIT);  
	g_stats.rx_cnt++;  
	k_mutex_unlock(&disp_mutex);  
	k_wakeup(tid_rx);
}

/* ---------- TASK 3 – TTN FORWARDER ---------- */
void lora_fwd_thread(void) {
	k_sem_take(&wifi_connected_sem, K_FOREVER);
	
	struct zsock_addrinfo hints = {
		.ai_family = AF_INET,
		.ai_socktype = SOCK_DGRAM,
		.ai_protocol = IPPROTO_UDP,
	};
	struct zsock_addrinfo *res;
	int ret;

	printk("Resolving TTN Server: %s\n", TTN_SERVER);
	ret = zsock_getaddrinfo(TTN_SERVER, TTN_PORT, &hints, &res);
	if (ret != 0) {
		printk("DNS Resolution Failed: %d\n", ret);
		return;
	}

	char addr_str[INET_ADDRSTRLEN];
	zsock_inet_ntop(AF_INET, &((struct sockaddr_in *)res->ai_addr)->sin_addr, addr_str, sizeof(addr_str));
	printk("TTN Resolved to %s\n", addr_str);

	int sock = zsock_socket(res->ai_family, res->ai_socktype, res->ai_protocol);
	if (sock < 0) {
		printk("Socket creation failed: %d\n", errno);
		zsock_freeaddrinfo(res);
		return;
	}

	/* Set socket non-blocking for ACK checks */
	int flags = zsock_fcntl(sock, F_GETFL, 0);
	zsock_fcntl(sock, F_SETFL, flags | O_NONBLOCK);

	uint8_t buffer[1024];
	struct lora_packet_t pkt;
	uint32_t last_pull = 0;

	for (;;) {
		uint32_t now = k_uptime_get_32();
		
		/* Heartbeat / PULL_DATA */
		if (now - last_pull > 10000) {
			buffer[0] = 0x02; // Version
			sys_put_be16(k_cycle_get_32() & 0xFFFF, &buffer[1]); // Token
			buffer[3] = 0x02; // PULL_DATA
			memcpy(&buffer[4], g_gw_eui, 8);
			
			ret = zsock_sendto(sock, buffer, 12, 0, res->ai_addr, res->ai_addrlen);
			if (ret < 0) {
				printk("PULL_DATA failed: %d\n", errno);
			} else {
				// printk("PULL_DATA sent\n");
			}
			last_pull = now;
		}

		/* Check for incoming ACKs or data */
		ret = zsock_recvfrom(sock, buffer, sizeof(buffer), 0, NULL, NULL);
		if (ret > 0) {
			if (buffer[3] == 0x04) { // PULL_ACK
				printk("TTN Connection Verified (PULL_ACK received)\n");
				g_stats.pull_ack_cnt++;
			} else if (buffer[3] == 0x01) { // PUSH_ACK
				printk("PUSH_ACK received\n");
			}
		}

		/* Process and Forward received LoRa packets */
		if (k_msgq_get(&fwd_q, &pkt, K_MSEC(500)) == 0) {
			char b64[400]; base64_encode(pkt.data, pkt.len, b64);
			char json[800];
			snprintk(json, sizeof(json), "{\"rxpk\":[{\"tmst\":%u,\"freq\":%.3f,\"chan\":0,\"rfch\":0,\"stat\":1,\"modu\":\"LORA\",\"datr\":\"SF%uBW%u\",\"codr\":\"4/8\",\"rssi\":%d,\"lsnr\":%.1f,\"size\":%u,\"data\":\"%s\"}]}",
				now, (double)pkt.freq/1e6, pkt.sf, pkt.bw, pkt.rssi, (double)pkt.snr, pkt.len, b64);
			
			buffer[0] = 0x02;
			sys_put_be16(k_cycle_get_32() & 0xFFFF, &buffer[1]);
			buffer[3] = 0x00; // PUSH_DATA
			memcpy(&buffer[4], g_gw_eui, 8);
			int header_len = 12;
			int json_len = strlen(json);
			memcpy(&buffer[header_len], json, json_len);
			
			ret = zsock_sendto(sock, buffer, header_len + json_len, 0, res->ai_addr, res->ai_addrlen);
			if (ret < 0) {
				printk("Forwarding failed: %d\n", errno);
			} else {
				printk("LoRa Packet forwarded to TTN\n");
				g_stats.fwd_cnt++;
			}
		}
	}
	
	zsock_freeaddrinfo(res);
}
  
void display_thread(void) {  
	k_sem_take(&wifi_connected_sem, K_FOREVER);
	k_sem_give(&wifi_connected_sem);
	display_dev = DEVICE_DT_GET(DISPLAY_NODE);  
	if (device_is_ready(display_dev)) {
		cfb_framebuffer_init(display_dev);
		cfb_framebuffer_set_font(display_dev, 0);
	}
	char buf[32];  
	for (;;) {  
		k_sleep(K_MSEC(500));  
		k_mutex_lock(&disp_mutex, K_FOREVER);  
		if (device_is_ready(display_dev)) {
			cfb_framebuffer_clear(display_dev, false);  
			snprintk(buf, sizeof(buf), "TX:%u RX:%u", g_stats.tx_cnt, g_stats.rx_cnt);  
			cfb_print(display_dev, buf, 0, 0);  
			snprintk(buf, sizeof(buf), "FWD:%u ACK:%u", g_stats.fwd_cnt, g_stats.pull_ack_cnt);  
			cfb_print(display_dev, buf, 0, 16);  
			snprintk(buf, sizeof(buf), "WiFi:%s EUI:..%02X%02X", g_stats.wifi_ok ? "OK" : "..", g_gw_eui[6], g_gw_eui[7]);  
			cfb_print(display_dev, buf, 0, 32);  
			cfb_framebuffer_finalize(display_dev);  
		}
		k_mutex_unlock(&disp_mutex);  
	}  
}  
  
void monitor_thread(void) {  
	k_sem_take(&wifi_connected_sem, K_FOREVER);
	k_sem_give(&wifi_connected_sem);
	for (;;) {  
		k_sleep(K_SECONDS(5));    
		k_wakeup(tid_rx);
	}  
}  

void serial_thread(void) {
	console_init();
	for (;;) {
		uint8_t c = console_getchar();
		if (c == 's') for (int i = 0; i < 5; i++) { k_sem_give(&tx_sem); k_sleep(K_SECONDS(1)); }
	}
}

int main(void) {  
	// lora_dev = DEVICE_DT_GET(LORA_NODE);  
/*
	gpio_pin_configure_dt(&btn, GPIO_INPUT);  

	gpio_pin_interrupt_configure_dt(&btn, GPIO_INT_EDGE_TO_ACTIVE);  
	gpio_init_callback(&btn_cb, button_isr, BIT(btn.pin));  
	gpio_add_callback(btn.port, &btn_cb);  
*/

	/* Generate Gateway EUI from MAC */
/*
	struct net_if *iface = net_if_get_default();
	if (iface) {
		uint8_t mac[6]; memcpy(mac, net_if_get_link_addr(iface)->addr, 6);
		g_gw_eui[0] = mac[0]; g_gw_eui[1] = mac[1]; g_gw_eui[2] = mac[2];
		g_gw_eui[3] = 0xFF;   g_gw_eui[4] = 0xFE;
		g_gw_eui[5] = mac[3]; g_gw_eui[6] = mac[4]; g_gw_eui[7] = mac[5];

		LOG_INF("GW EUI: %02x%02x%02x%02x%02x%02x%02x%02x", 
			g_gw_eui[0], g_gw_eui[1], g_gw_eui[2], g_gw_eui[3],
			g_gw_eui[4], g_gw_eui[5], g_gw_eui[6], g_gw_eui[7]);
	}
*/
	connect_wifi();

	while(1) {
		k_sleep(K_SECONDS(10));
	}
	return 0;  
	}
```
